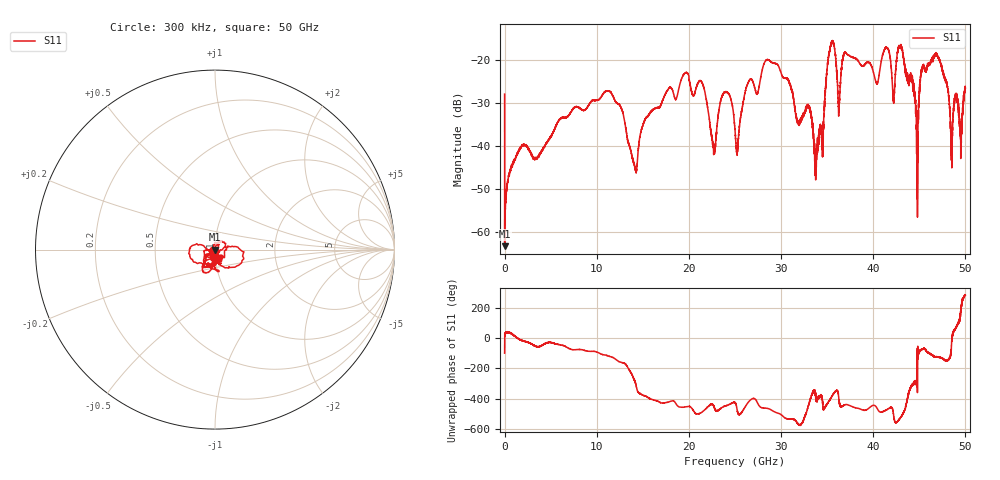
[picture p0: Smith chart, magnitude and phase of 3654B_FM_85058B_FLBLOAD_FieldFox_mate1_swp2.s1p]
!Created with skrf (http://scikit-rf.org).
# Hz S RI R 50.0
!freq ReS11 ImS11
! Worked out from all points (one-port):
!   10001 points, 300 kHz to 50 GHz, reference 50 ohm
!   lowest |S11| = -63.3 dB at 5.3 MHz (marker M1), VSWR 1.00, Z = 50 - j0.0509 ohm
!   |S11| at or under -10 dB: start of sweep to end of sweep
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300000  -0.007 -0.04
5299970  0.000461 -0.000508
2.552985e8  0.0026 0.00214
6.250262e9  0.0146 -0.016
1.250022e10  -0.0279 -0.0116
1.418021e10  0.00222 0.00503
1.531521e10  0.0196 -0.00865
1.875019e10  0.0018 -0.0397
2.137017e10  -0.0378 -0.042
2.270516e10  -0.000579 -0.00875
2.416516e10  0.00368 -0.0424
2.500015e10  0.00581 -0.0148
2.842513e10  -0.0243 -0.0988
3.125011e10  -0.041 -0.00384
3.30451e10  0.00836 -0.0275
3.38251e10  0.00482 -0.00434
3.541009e10  0.1246 -0.0916
3.627508e10  0.0197 -0.0186
3.750008e10  0.00567 -0.1119
4.148505e10  -0.0553 -0.1291
4.220505e10  -0.0273 -0.0179
4.293004e10  -0.1406 -0.0266
4.375004e10  0.0558 -0.0325
4.473503e10  0.00143 0.00899
4.531003e10  0.0199 -0.0772
4.675002e10  -0.0662 -0.0957
4.848501e10  0.00668 -0.00768
5e10  0.0112 -0.0466
